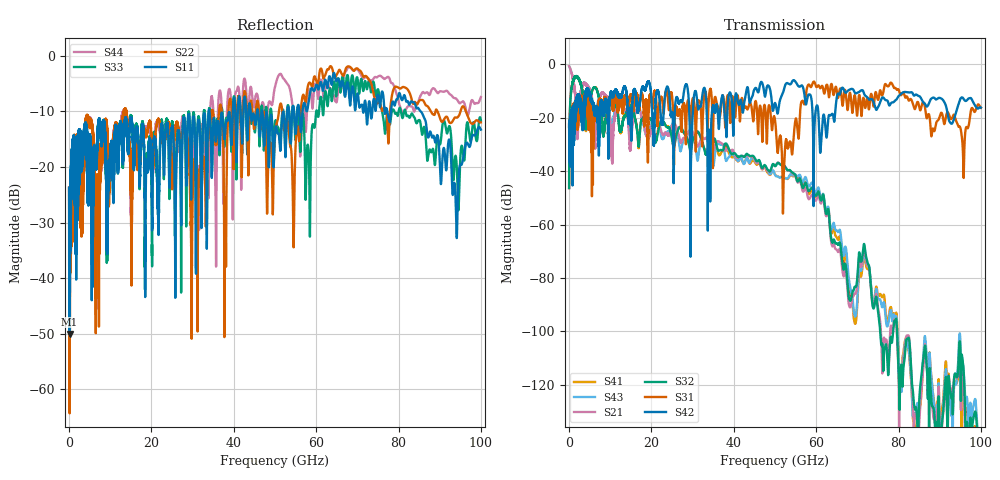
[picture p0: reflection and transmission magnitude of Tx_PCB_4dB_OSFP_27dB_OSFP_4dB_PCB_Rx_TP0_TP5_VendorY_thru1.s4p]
! Info: Touchstone file created by Circ.  Input file=Tx_PCB_4dB_OSFP_27dB_OSFP_4dB_PCB_Rx_TP0_TP5_VendorY.circ
# Hz S RI R 50
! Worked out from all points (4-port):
!   10000 points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, 10 MHz to 100 GHz, reference 50 ohm
!   strongest paths, dB at 10 MHz, 25.01 GHz, 50.01 GHz, 75.01 GHz, 100 GHz:
!     S42: -23.5, -18.6, -14.5, -16.2, -16.2
!     S31: -23.5, -11.9, -20.9, -13.3, -16.3
!     S32: -46.3, -28.1, -38.2, -92.4, -148.1
!     S21: -0.7, -23.0, -38.0, -91.1, -144.6
!     S43: -0.7, -22.7, -41.4, -87.7, -147.9
!     S41: -46.3, -27.3, -41.3, -86.7, -142.9
!   lowest |S11| = -50.0 dB at 130 MHz (marker M1), VSWR 1.01, Z = 49.9 - j0.283 ohm
!   |S11| at or under -10 dB: start of sweep to 33.92 GHz; 46.91 GHz to 52.98 GHz (6.07 GHz wide, 12.2 % of centre); 85.34 GHz to end of sweep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
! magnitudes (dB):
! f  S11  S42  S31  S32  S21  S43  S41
! 10 MHz  -23.8  -23.5  -23.5  -46.3  -0.7  -0.7  -46.3
! 130 MHz  -50.0  -25.5  -25.4  -20.6  -1.1  -1.1  -20.6
! 1.8 GHz  -35.6  -17.2  -22.4  -4.4  -17.6  -15.9  -4.4
! 31.2 GHz  -13.0  -15.3  -14.4  -25.1  -30.8  -36.1  -25.4
! 51.08 GHz  -15.3  -14.3  -27.8  -37.3  -37.1  -42.4  -42.3
! 67.84 GHz  -5.7  -9.7  -14.5  -86.5  -88.9  -79.3  -81.9
! 100 GHz  -13.3  -16.2  -16.3  -148.1  -144.6  -147.9  -142.9
